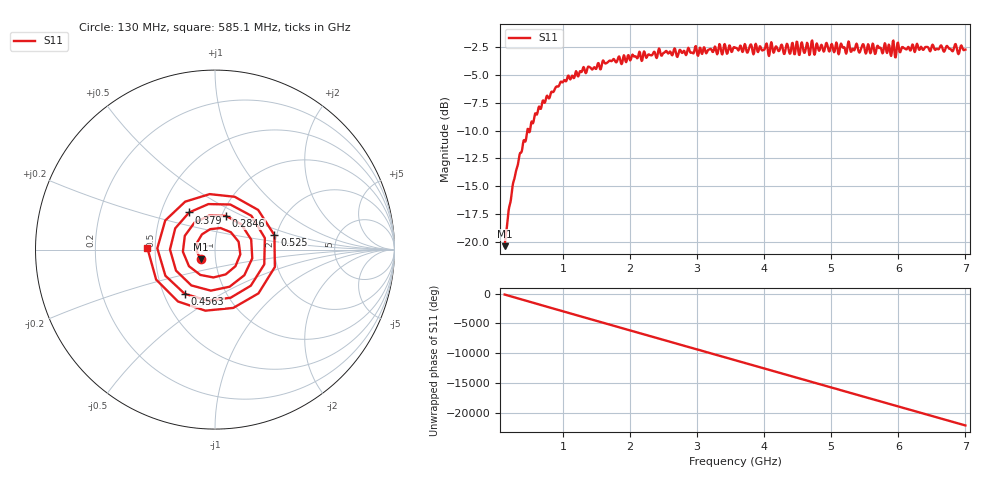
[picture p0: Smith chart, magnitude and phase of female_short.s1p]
# Hz S RI R 50.000000
! Metas.Vna.Tools, 2.8.8664.20301
! Metas.Vna.Data, 2.8.8664.20285
! Created: UTC 2024.02.09 20:23:45
! FREQ  re:S2,2  im:S2,2
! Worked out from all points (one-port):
!   801 points, 130 MHz to 7 GHz, reference 50 ohm
!   lowest |S11| = -20.4 dB at 130 MHz (marker M1), VSWR 1.21, Z = 42.4 - j4.64 ohm
!   |S11| at or under -10 dB: start of sweep to 468.6 MHz; 488.5 MHz to 509.4 MHz (20.81 MHz wide, 4.17 % of centre)
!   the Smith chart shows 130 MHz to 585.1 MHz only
!   S11 on the Smith chart (normalised r, x): 130 MHz: 0.85, -0.09; 284.6 MHz: 1.05, +0.41; 379 MHz: 0.69, +0.31; 456.3 MHz: 0.64, -0.34; 525 MHz: 1.95, +0.36; 585.1 MHz: 0.45, +0.01
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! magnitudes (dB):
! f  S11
! 130 MHz  -20.4
! 224.5 MHz  -16.2
! 284.6 MHz  -14.1
! 379 MHz  -12.0
! 456.3 MHz  -10.5
! 525 MHz  -9.4
! 585.1 MHz  -8.5
! 731.1 MHz  -7.5
! 988.8 MHz  -5.7
! 1.289 GHz  -4.6
! 1.847 GHz  -3.5
! 2.449 GHz  -2.9
! 2.706 GHz  -3.4
! 3.565 GHz  -2.6
! 4.424 GHz  -2.1
! 5.162 GHz  -2.4
! 5.205 GHz  -2.7
! 5.282 GHz  -2.7
! 5.317 GHz  -2.7
! 5.36 GHz  -2.5
! 5.428 GHz  -3.0
! 5.712 GHz  -2.6
! 5.746 GHz  -2.7
! 5.832 GHz  -3.1
! 5.866 GHz  -2.4
! 5.892 GHz  -3.3
! 6.141 GHz  -2.5
! 7 GHz  -2.7
